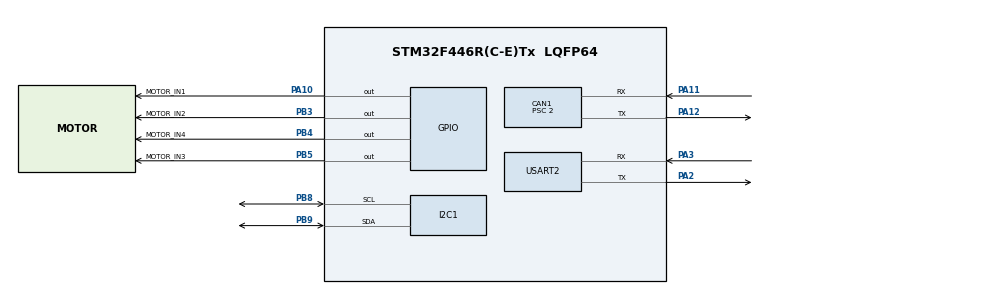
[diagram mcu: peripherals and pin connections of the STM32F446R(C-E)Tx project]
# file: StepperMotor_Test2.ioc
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CAN1.BS1=CAN_BS1_13TQ
CAN1.BS2=CAN_BS2_2TQ
CAN1.CalculateBaudRate=500000
CAN1.CalculateTimeBit=2000
CAN1.CalculateTimeQuantum=125.0
CAN1.Prescaler=2
Mcu.Family=STM32F4
Mcu.Name=STM32F446R(C-E)Tx
Mcu.Package=LQFP64
NVIC.CAN1_RX0_IRQn=true\:0\:0\:false\:false\:true\:true\:true\:true
NVIC.CAN1_TX_IRQn=true\:0\:0\:false\:false\:true\:true\:true\:true
NVIC.PriorityGroup=NVIC_PRIORITYGROUP_4
PA10.GPIO_Label=MOTOR_IN1
PA10.Signal=GPIO_Output
PA11.Mode=CAN_Activate
PA11.Signal=CAN1_RX
PA12.Mode=CAN_Activate
PA12.Signal=CAN1_TX
PA13.Mode=Serial_Wire
PA13.Signal=SYS_JTMS-SWDIO
PA14.Mode=Serial_Wire
PA14.Signal=SYS_JTCK-SWCLK
PA2.Mode=Asynchronous
PA2.Signal=USART2_TX
PA3.Mode=Asynchronous
PA3.Signal=USART2_RX
PB3.GPIO_Label=MOTOR_IN2
PB3.Signal=GPIO_Output
PB4.GPIO_Label=MOTOR_IN4
PB4.Signal=GPIO_Output
PB5.GPIO_Label=MOTOR_IN3
PB5.Signal=GPIO_Output
PB8.Mode=I2C
PB8.Signal=I2C1_SCL
PB9.Mode=I2C
PB9.Signal=I2C1_SDA
ProjectManager.HeapSize=0x200
ProjectManager.StackSize=0x400
ProjectManager.TargetToolchain=STM32CubeIDE
RCC.CortexFreq_Value=16000000
RCC.USBFreq_Value=96000000
RCC.VCOOutputFreq_Value=192000000
USART2.VirtualMode=VM_ASYNC
board=custom

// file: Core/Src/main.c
/* USER CODE BEGIN Header */
/**
  ******************************************************************************
  * @file           : main.c
  * @brief          : Main program body
  ******************************************************************************
  * @attention
  *
  * Copyright (c) 2026 STMicroelectronics.
  * All rights reserved.
  *
  * This software is licensed under terms that can be found in the LICENSE file
  * in the root directory of this software component.
  * If no LICENSE file comes with this software, it is provided AS-IS.
  *
  ******************************************************************************
  */
/* USER CODE END Header */
#include "main.h"

/* USER CODE BEGIN Includes */
#include <stdio.h>
#include <string.h>
/* USER CODE END Includes */

CAN_HandleTypeDef hcan1;

I2C_HandleTypeDef hi2c1;

UART_HandleTypeDef huart2;

/* USER CODE BEGIN PV */
extern UART_HandleTypeDef huart2; // USART2 핸들러 참조

float bus_voltage_V = 0.0f;
float current_mA = 0.0f;
float power_mW = 0.0f;
uint32_t step_count = 0;
CAN_FilterTypeDef sFilterConfig;
CAN_RxHeaderTypeDef RxHeader;
uint8_t RxData[8];
uint8_t motor_run_flag = 1; // 0: 정지, 1: 모터 동작
uint8_t motor_speed = 1;  // 기본 속도
/* USER CODE END PV */

void SystemClock_Config(void);
static void MX_GPIO_Init(void);
static void MX_I2C1_Init(void);
static void MX_USART2_UART_Init(void);
static void MX_CAN1_Init(void);
/* USER CODE BEGIN PFP */
int _write(int file, char *ptr, int len)
{
    HAL_UART_Transmit(&huart2, (uint8_t *)ptr, len, HAL_MAX_DELAY);
    return len;
}
/* USER CODE END PFP */

/* USER CODE BEGIN 0 */
void Read_INA219(void)
{
    uint8_t reg;
    uint8_t data[2];

    // 1. Bus Voltage (공급 전압) 읽기 (Register 0x02)
    reg = 0x02;
    if (HAL_I2C_Master_Transmit(&hi2c1, 0x40 << 1, &reg, 1, 100) == HAL_OK)
    {
        HAL_I2C_Master_Receive(&hi2c1, 0x40 << 1, data, 2, 100);
        int16_t raw_bus = (data[0] << 8) | data[1];
        bus_voltage_V = (raw_bus >> 3) * 0.004f; // LSB = 4mV
    }

    // 2. Shunt Voltage (전류 측정용) 읽기 (Register 0x01)
    reg = 0x01;
    if (HAL_I2C_Master_Transmit(&hi2c1, 0x40 << 1, &reg, 1, 100) == HAL_OK)
    {
        HAL_I2C_Master_Receive(&hi2c1, 0x40 << 1, data, 2, 100);
        int16_t raw_shunt = (data[0] << 8) | data[1];
        float shunt_voltage_mV = raw_shunt * 0.01f; // LSB = 10uV

        // 전류(mA) = 셔트 전압(mV) / R_shunt(0.1 Ohm)
        current_mA = shunt_voltage_mV * 10.0f;
    }

    // 3. 소비 전력 계산 (mW)
    power_mW = bus_voltage_V * current_mA;
}
/* USER CODE END 0 */

int main(void)
{

  /* MCU Configuration--------------------------------------------------------*/

  /* Reset of all peripherals, Initializes the Flash interface and the Systick. */
  HAL_Init();

  /* Configure the system clock */
  SystemClock_Config();

  /* Initialize all configured peripherals */
  MX_GPIO_Init();
  MX_I2C1_Init();
  MX_USART2_UART_Init();
  MX_CAN1_Init();
  /* USER CODE BEGIN 2 */
  uint8_t ina219_address = 0;

  if (HAL_I2C_IsDeviceReady(&hi2c1, 0x40 << 1, 3, 100) == HAL_OK)
  {
      ina219_address = 1;
  }
  else
  {
      ina219_address = 0;
  }
  // CAN 필터 설정 (모든 CAN ID 수신 허용)
    sFilterConfig.FilterBank = 0;
    sFilterConfig.FilterMode = CAN_FILTERMODE_IDMASK;
    sFilterConfig.FilterScale = CAN_FILTERSCALE_32BIT;
    sFilterConfig.FilterIdHigh = 0x0000;
    sFilterConfig.FilterIdLow = 0x0000;
    sFilterConfig.FilterMaskIdHigh = 0x0000;
    sFilterConfig.FilterMaskIdLow = 0x0000;
    sFilterConfig.FilterFIFOAssignment = CAN_RX_FIFO0;
    sFilterConfig.FilterActivation = ENABLE;
    sFilterConfig.SlaveStartFilterBank = 14;

    if (HAL_CAN_ConfigFilter(&hcan1, &sFilterConfig) != HAL_OK)
    {
        Error_Handler();
    }

    if (HAL_CAN_Start(&hcan1) != HAL_OK)
    {
        Error_Handler();
    }

    if (HAL_CAN_ActivateNotification(&hcan1, CAN_IT_RX_FIFO0_MSG_PENDING) != HAL_OK)
    {
        Error_Handler();
    }
    if (HAL_CAN_ActivateNotification(&hcan1, CAN_IT_TX_MAILBOX_EMPTY) != HAL_OK)
    {
        Error_Handler();
    }
  /* USER CODE END 2 */

  /* Infinite loop */
      while (1)
      {

    /* USER CODE BEGIN 3 */
          if (motor_run_flag == 1)
          {
              HAL_GPIO_WritePin(MOTOR_IN1_GPIO_Port, MOTOR_IN1_Pin, GPIO_PIN_SET);
              HAL_GPIO_WritePin(GPIOB, MOTOR_IN2_Pin, GPIO_PIN_RESET);
              HAL_GPIO_WritePin(GPIOB, MOTOR_IN3_Pin, GPIO_PIN_RESET);
              HAL_GPIO_WritePin(GPIOB, MOTOR_IN4_Pin, GPIO_PIN_RESET);
              HAL_Delay(motor_speed);

              HAL_GPIO_WritePin(MOTOR_IN1_GPIO_Port, MOTOR_IN1_Pin, GPIO_PIN_RESET);
              HAL_GPIO_WritePin(GPIOB, MOTOR_IN2_Pin, GPIO_PIN_SET);
              HAL_GPIO_WritePin(GPIOB, MOTOR_IN3_Pin, GPIO_PIN_RESET);
              HAL_GPIO_WritePin(GPIOB, MOTOR_IN4_Pin, GPIO_PIN_RESET);
              HAL_Delay(motor_speed);

              HAL_GPIO_WritePin(MOTOR_IN1_GPIO_Port, MOTOR_IN1_Pin, GPIO_PIN_RESET);
              HAL_GPIO_WritePin(GPIOB, MOTOR_IN2_Pin, GPIO_PIN_RESET);
              HAL_GPIO_WritePin(GPIOB, MOTOR_IN3_Pin, GPIO_PIN_SET);
              HAL_GPIO_WritePin(GPIOB, MOTOR_IN4_Pin, GPIO_PIN_RESET);
              HAL_Delay(motor_speed);

              HAL_GPIO_WritePin(MOTOR_IN1_GPIO_Port, MOTOR_IN1_Pin, GPIO_PIN_RESET);
              HAL_GPIO_WritePin(GPIOB, MOTOR_IN2_Pin, GPIO_PIN_RESET);
              HAL_GPIO_WritePin(GPIOB, MOTOR_IN3_Pin, GPIO_PIN_RESET);
              HAL_GPIO_WritePin(GPIOB, MOTOR_IN4_Pin, GPIO_PIN_SET);
              HAL_Delay(motor_speed);

              step_count += 4;

              if (step_count % 20 == 0)
              {
                  Read_INA219();
                  printf("[Step %4lu] V: %.2f V | I: %.2f mA | P: %.2f mW\r\n",
                          step_count, bus_voltage_V, current_mA, power_mW);
              }
          }
          else
          {
              // 정지 상태일 때는 모터 핀을 모두 OFF하여 발열 차단
              HAL_GPIO_WritePin(MOTOR_IN1_GPIO_Port, MOTOR_IN1_Pin, GPIO_PIN_RESET);
              HAL_GPIO_WritePin(GPIOB, MOTOR_IN2_Pin | MOTOR_IN3_Pin | MOTOR_IN4_Pin, GPIO_PIN_RESET);
              HAL_Delay(50);
          }
      }
  /* USER CODE END 3 */
}

void SystemClock_Config(void)
{
  RCC_OscInitTypeDef RCC_OscInitStruct = {0};
  RCC_ClkInitTypeDef RCC_ClkInitStruct = {0};

  /** Configure the main internal regulator output voltage
  */
  __HAL_RCC_PWR_CLK_ENABLE();
  __HAL_PWR_VOLTAGESCALING_CONFIG(PWR_REGULATOR_VOLTAGE_SCALE3);

  /** Initializes the RCC Oscillators according to the specified parameters
  * in the RCC_OscInitTypeDef structure.
  */
  RCC_OscInitStruct.OscillatorType = RCC_OSCILLATORTYPE_HSI;
  RCC_OscInitStruct.HSIState = RCC_HSI_ON;
  RCC_OscInitStruct.HSICalibrationValue = RCC_HSICALIBRATION_DEFAULT;
  RCC_OscInitStruct.PLL.PLLState = RCC_PLL_NONE;
  if (HAL_RCC_OscConfig(&RCC_OscInitStruct) != HAL_OK)
  {
    Error_Handler();
  }

  /** Initializes the CPU, AHB and APB buses clocks
  */
  RCC_ClkInitStruct.ClockType = RCC_CLOCKTYPE_HCLK|RCC_CLOCKTYPE_SYSCLK
                              |RCC_CLOCKTYPE_PCLK1|RCC_CLOCKTYPE_PCLK2;
  RCC_ClkInitStruct.SYSCLKSource = RCC_SYSCLKSOURCE_HSI;
  RCC_ClkInitStruct.AHBCLKDivider = RCC_SYSCLK_DIV1;
  RCC_ClkInitStruct.APB1CLKDivider = RCC_HCLK_DIV1;
  RCC_ClkInitStruct.APB2CLKDivider = RCC_HCLK_DIV1;

  if (HAL_RCC_ClockConfig(&RCC_ClkInitStruct, FLASH_LATENCY_0) != HAL_OK)
  {
    Error_Handler();
  }
}

static void MX_CAN1_Init(void)
{

  hcan1.Instance = CAN1;
  hcan1.Init.Prescaler = 2;
  hcan1.Init.Mode = CAN_MODE_NORMAL;
  hcan1.Init.SyncJumpWidth = CAN_SJW_1TQ;
  hcan1.Init.TimeSeg1 = CAN_BS1_13TQ;
  hcan1.Init.TimeSeg2 = CAN_BS2_2TQ;
  hcan1.Init.TimeTriggeredMode = DISABLE;
  hcan1.Init.AutoBusOff = DISABLE;
  hcan1.Init.AutoWakeUp = DISABLE;
  hcan1.Init.AutoRetransmission = DISABLE;
  hcan1.Init.ReceiveFifoLocked = DISABLE;
  hcan1.Init.TransmitFifoPriority = DISABLE;
  if (HAL_CAN_Init(&hcan1) != HAL_OK)
  {
    Error_Handler();
  }

}

static void MX_I2C1_Init(void)
{

  hi2c1.Instance = I2C1;
  hi2c1.Init.ClockSpeed = 100000;
  hi2c1.Init.DutyCycle = I2C_DUTYCYCLE_2;
  hi2c1.Init.OwnAddress1 = 0;
  hi2c1.Init.AddressingMode = I2C_ADDRESSINGMODE_7BIT;
  hi2c1.Init.DualAddressMode = I2C_DUALADDRESS_DISABLE;
  hi2c1.Init.OwnAddress2 = 0;
  hi2c1.Init.GeneralCallMode = I2C_GENERALCALL_DISABLE;
  hi2c1.Init.NoStretchMode = I2C_NOSTRETCH_DISABLE;
  if (HAL_I2C_Init(&hi2c1) != HAL_OK)
  {
    Error_Handler();
  }

}

static void MX_USART2_UART_Init(void)
{

  huart2.Instance = USART2;
  huart2.Init.BaudRate = 115200;
  huart2.Init.WordLength = UART_WORDLENGTH_8B;
  huart2.Init.StopBits = UART_STOPBITS_1;
  huart2.Init.Parity = UART_PARITY_NONE;
  huart2.Init.Mode = UART_MODE_TX_RX;
  huart2.Init.HwFlowCtl = UART_HWCONTROL_NONE;
  huart2.Init.OverSampling = UART_OVERSAMPLING_16;
  if (HAL_UART_Init(&huart2) != HAL_OK)
  {
    Error_Handler();
  }

}

static void MX_GPIO_Init(void)
{
  GPIO_InitTypeDef GPIO_InitStruct = {0};

  /* GPIO Ports Clock Enable */
  __HAL_RCC_GPIOA_CLK_ENABLE();
  __HAL_RCC_GPIOB_CLK_ENABLE();

  /*Configure GPIO pin Output Level */
  HAL_GPIO_WritePin(MOTOR_IN1_GPIO_Port, MOTOR_IN1_Pin, GPIO_PIN_RESET);

  /*Configure GPIO pin Output Level */
  HAL_GPIO_WritePin(GPIOB, MOTOR_IN2_Pin|MOTOR_IN4_Pin|MOTOR_IN3_Pin, GPIO_PIN_RESET);

  /*Configure GPIO pin : MOTOR_IN1_Pin */
  GPIO_InitStruct.Pin = MOTOR_IN1_Pin;
  GPIO_InitStruct.Mode = GPIO_MODE_OUTPUT_PP;
  GPIO_InitStruct.Pull = GPIO_NOPULL;
  GPIO_InitStruct.Speed = GPIO_SPEED_FREQ_LOW;
  HAL_GPIO_Init(MOTOR_IN1_GPIO_Port, &GPIO_InitStruct);

  /*Configure GPIO pins : MOTOR_IN2_Pin MOTOR_IN4_Pin MOTOR_IN3_Pin */
  GPIO_InitStruct.Pin = MOTOR_IN2_Pin|MOTOR_IN4_Pin|MOTOR_IN3_Pin;
  GPIO_InitStruct.Mode = GPIO_MODE_OUTPUT_PP;
  GPIO_InitStruct.Pull = GPIO_NOPULL;
  GPIO_InitStruct.Speed = GPIO_SPEED_FREQ_LOW;
  HAL_GPIO_Init(GPIOB, &GPIO_InitStruct);

}

/* USER CODE BEGIN 4 */
void HAL_CAN_RxFifo0MsgPendingCallback(CAN_HandleTypeDef *hcan)
{
    CAN_TxHeaderTypeDef TxHeader;
    uint8_t TxData[2];
    uint32_t TxMailbox;
    char debug_msg[] = "CAN TX 전송 중\r\n";
    HAL_UART_Transmit(&huart2, (uint8_t*)debug_msg, strlen(debug_msg), 100);

    if (hcan->Instance == CAN1)
    {
        if (HAL_CAN_GetRxMessage(hcan, CAN_RX_FIFO0, &RxHeader, RxData) == HAL_OK)
        {
            uint16_t distance = (RxData[0] << 8) | RxData[1];
            printf("\r\n>>> [CAN RX] Distance: %d mm <<<\r\n", distance);

            if (distance < 300)
            {
                motor_speed = 5;
                printf("혼잡 감지 - 모터 감속\r\n");
            }
            else
            {
                motor_speed = 1;
                printf("정상 - 모터 정상 속도\r\n");
            }

            TxHeader.StdId = 0x456;
            TxHeader.RTR = CAN_RTR_DATA;
            TxHeader.IDE = CAN_ID_STD;
            TxHeader.DLC = 2;
            TxHeader.TransmitGlobalTime = DISABLE;

            uint16_t current_int = (uint16_t)(current_mA * 10);
            TxData[0] = (current_int >> 8) & 0xFF;
            TxData[1] = current_int & 0xFF;

            HAL_CAN_AddTxMessage(&hcan1, &TxHeader, TxData, &TxMailbox);
        }
    }
}
/* USER CODE END 4 */

void Error_Handler(void)
{
  __disable_irq();
  while (1)
  {
  }
}
